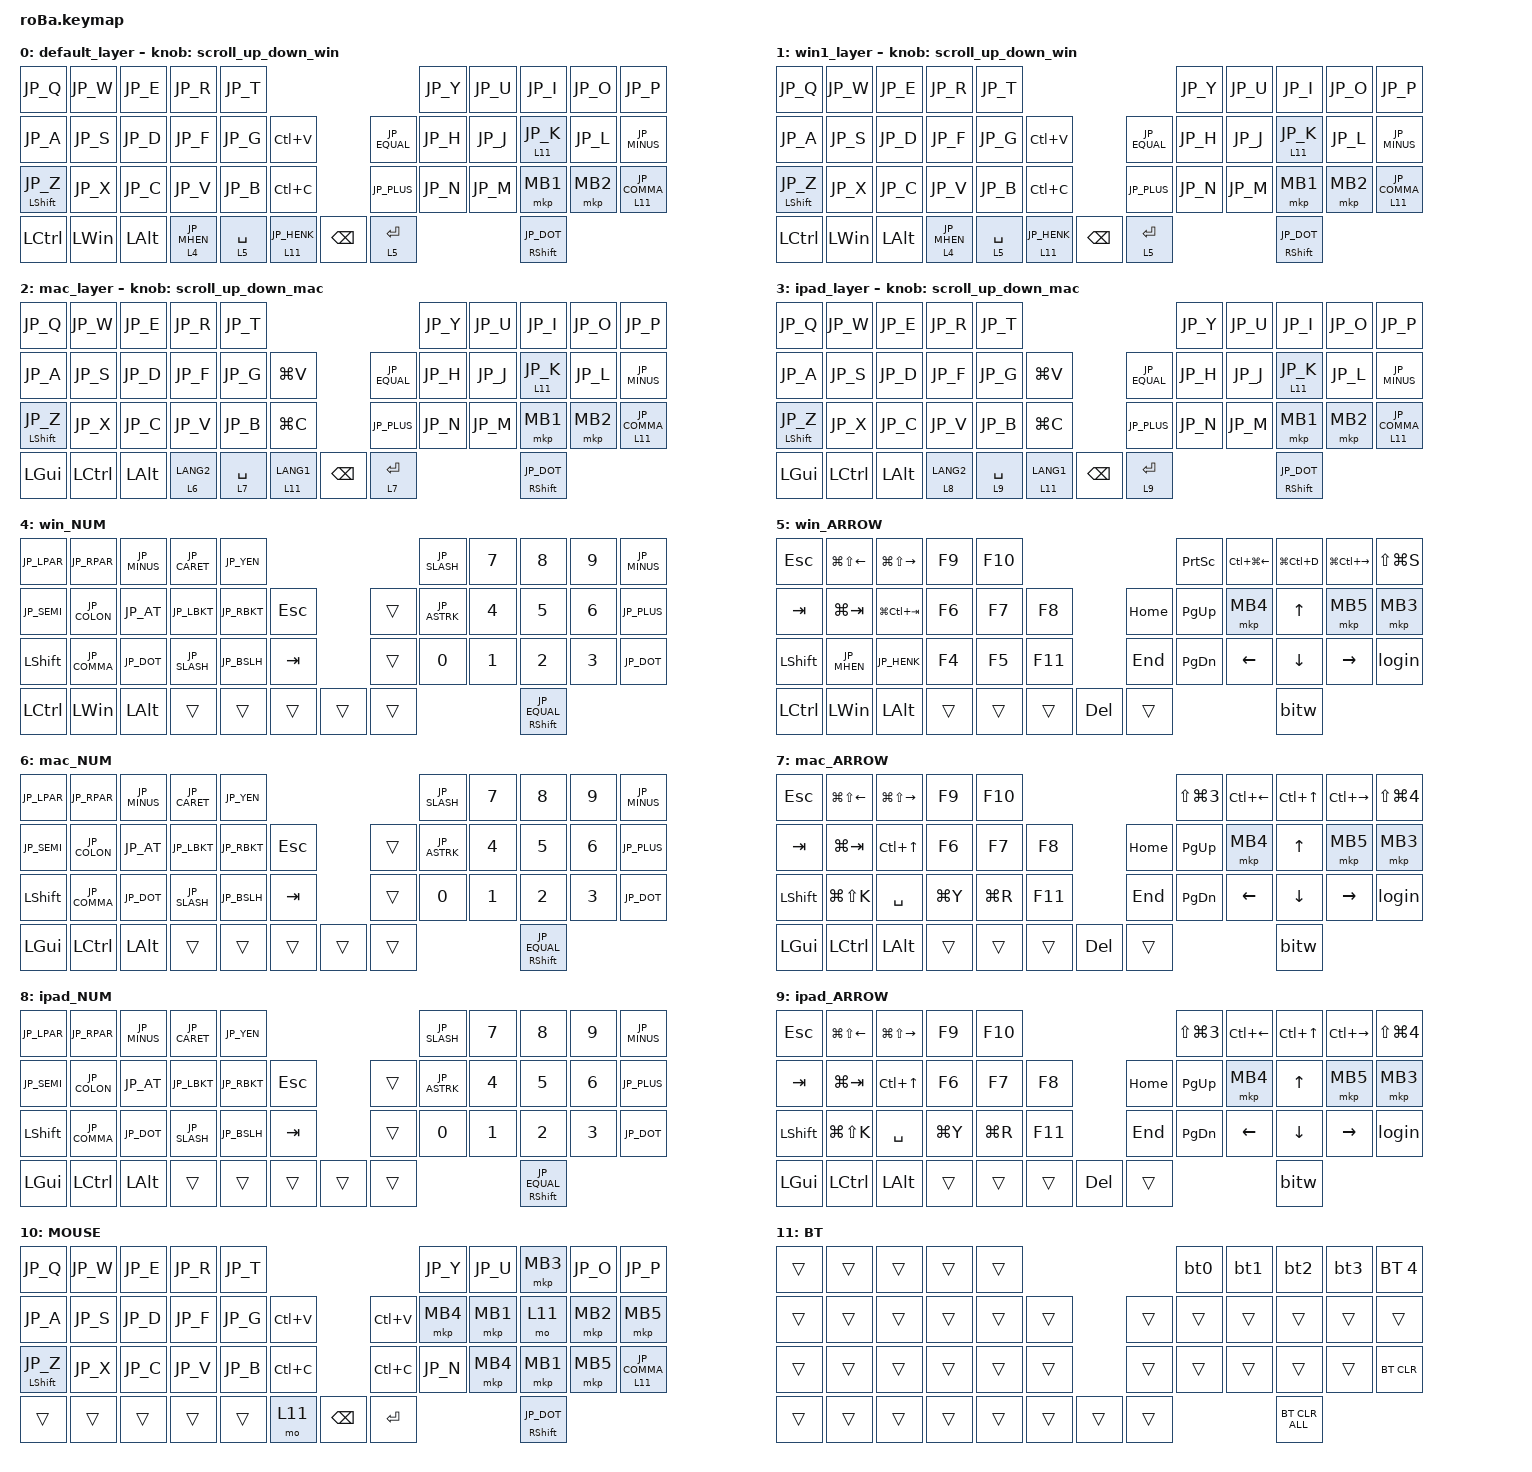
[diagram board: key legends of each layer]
#include "keymap.h"
#include <behaviors.dtsi>
#include <dt-bindings/zmk/bt.h>
#include <dt-bindings/zmk/keys.h>
#include <dt-bindings/zmk/pointing.h>
#include <dt-bindings/zmk/pointing.h>

#define MOUSE 11
#define NUM 6

&mt {
    flavor = "balanced";
    quick-tap-ms = <0>;
};

/ {
    macros {
        to_layer_0: to_layer_0 {
            compatible = "zmk,behavior-macro-one-param";
            #binding-cells = <1>;
            bindings = <&to 0 &macro_param_1to1 &kp MACRO_PLACEHOLDER>;
            label = "TO_LAYER_0";
        };
		
        login: login {
            compatible = "zmk,behavior-macro";
            #binding-cells = <0>;
            bindings = <&kp N3 &kp N9 &kp LS(H) &kp O &kp T &kp S &kp P &kp A &kp C &kp E>;
            label = "LOGIN";
        };

        bitw: bitw {
            compatible = "zmk,behavior-macro";
            #binding-cells = <0>;
            bindings = <&none &kp LS(I) &kp N &kp N &kp U &kp E &kp N &kp D &kp O &kp JP_AT &kp N3 &kp N6 &kp N6 &kp N4>;
            label = "BITW";
        };

        bt0: bt0 {
            compatible = "zmk,behavior-macro";
            #binding-cells = <0>;
            bindings =
                <&tog_off 1 &tog_off 2 &tog_off 3>,
                <&macro_wait_time 200>,
                <&bt BT_SEL 0>,
                <&macro_wait_time 500>;

            label = "BT0";
        };

        bt1: bt1 {
            compatible = "zmk,behavior-macro";
            #binding-cells = <0>;
            bindings =
                <&tog_off 1 &tog_off 2 &tog_off 3>,
                <&macro_wait_time 200>,
                <&bt BT_SEL 1>,
                <&macro_wait_time 500>,
                <&tog_on 1>;

            label = "BT1";
        };

        bt2: bt2 {
            compatible = "zmk,behavior-macro";
            #binding-cells = <0>;
            bindings =
                <&tog_off 1 &tog_off 2 &tog_off 3>,
                <&macro_wait_time 200>,
                <&bt BT_SEL 2>,
                <&macro_wait_time 500>,
                <&tog_on 2>;

            label = "BT2";
        };

        bt3: bt3 {
            compatible = "zmk,behavior-macro";
            #binding-cells = <0>;
            bindings =
                <&tog_off 1 &tog_off 2 &tog_off 3>,
                <&macro_wait_time 200>,
                <&bt BT_SEL 3>,
                <&macro_wait_time 500>,
                <&tog_on 3>;

            label = "BT3";
        };		
    };

    behaviors {
        lt_to_layer_0: lt_to_layer_0 {
            compatible = "zmk,behavior-hold-tap";
            label = "LAYER_TAP_TO_0";
            bindings = <&mo>, <&to_layer_0>;

            #binding-cells = <2>;
            tapping-term-ms = <200>;
        };

        tog_on: toggle_layer_on_only {
            compatible = "zmk,behavior-toggle-layer";
            #binding-cells = <1>;
            display-name = "Toggle Layer On";
            toggle-mode = "on";
        };

        tog_off: toggle_layer_off_only {
            compatible = "zmk,behavior-toggle-layer";
            #binding-cells = <1>;
            display-name = "Toggle Layer Off";
            toggle-mode = "off";
        };
		
		scroll_up_down_win: scroll_up_down_win {
            compatible = "zmk,behavior-sensor-rotate";
            #sensor-binding-cells = <0>;
            bindings = <&msc SCRL_UP>, <&msc SCRL_DOWN>; // Windows用 (通常の方向)
        };

        scroll_up_down_mac: scroll_up_down_mac {
            compatible = "zmk,behavior-sensor-rotate";
            #sensor-binding-cells = <0>;
            bindings = <&msc SCRL_DOWN>, <&msc SCRL_UP>; // Mac用 (逆方向)
        };
    };

    keymap {
        compatible = "zmk,keymap";

        default_layer {
            bindings = <
&kp JP_Q             &kp JP_W      &kp JP_E      &kp JP_R                  &kp JP_T                                                   &kp JP_Y     &kp JP_U  &kp JP_I  &kp JP_O  &kp JP_P
&kp JP_A             &kp JP_S      &kp JP_D      &kp JP_F                  &kp JP_G     &kp LC(V)                      &kp JP_EQUAL   &kp JP_H     &kp JP_J  &lt 11 JP_K  &kp JP_L  &kp JP_MINUS
&mt LEFT_SHIFT JP_Z  &kp JP_X      &kp JP_C      &kp JP_V                  &kp JP_B     &kp LC(C)                      &kp JP_PLUS    &kp JP_N     &kp JP_M  &mkp MB1  &mkp MB2  &lt 11 JP_COMMA
&kp LCTRL            &kp LEFT_WIN  &kp LEFT_ALT  &lt 4 JP_MHEN  &lt 5 SPACE  &lt 11 JP_HENK      &kp BACKSPACE  &lt 5 ENTER                                &mt RIGHT_SHIFT JP_DOT
            >;

            sensor-bindings = <&scroll_up_down_win>; // Windows用スクロール
        };

        win1_layer {
            bindings = <
&kp JP_Q             &kp JP_W      &kp JP_E      &kp JP_R       &kp JP_T                                      &kp JP_Y     &kp JP_U  &kp JP_I      &kp JP_O    &kp JP_P
&kp JP_A             &kp JP_S      &kp JP_D      &kp JP_F       &kp JP_G     &kp LC(V)         &kp JP_EQUAL   &kp JP_H     &kp JP_J  &lt 11 JP_K   &kp JP_L    &kp JP_MINUS
&mt LEFT_SHIFT JP_Z  &kp JP_X      &kp JP_C      &kp JP_V       &kp JP_B     &kp LC(C)         &kp JP_PLUS    &kp JP_N     &kp JP_M  &mkp MB1  &mkp MB2  &lt 11 JP_COMMA
&kp LCTRL            &kp LEFT_WIN  &kp LEFT_ALT  &lt 4 JP_MHEN  &lt 5 SPACE  &lt 11 JP_HENK    &kp BACKSPACE  &lt 5 ENTER                                      &mt RIGHT_SHIFT JP_DOT
            >;
			
            sensor-bindings = <&scroll_up_down_win>; // Windows用スクロール
        };

        mac_layer {
            bindings = <
&kp JP_Q             &kp JP_W   &kp JP_E  &kp JP_R               &kp JP_T                                                &kp JP_Y     &kp JP_U  &kp JP_I  &kp JP_O  &kp JP_P
&kp JP_A             &kp JP_S   &kp JP_D  &kp JP_F               &kp JP_G     &kp LG(V)                   &kp JP_EQUAL   &kp JP_H     &kp JP_J  &lt 11 JP_K  &kp JP_L  &kp JP_MINUS
&mt LEFT_SHIFT JP_Z  &kp JP_X   &kp JP_C  &kp JP_V               &kp JP_B     &kp LG(C)                   &kp JP_PLUS    &kp JP_N     &kp JP_M  &mkp MB1  &mkp MB2  &lt 11 JP_COMMA
&kp LGUI             &kp LCTRL  &kp LALT  &lt 6 LANG2  &lt 7 SPACE  &lt 11 LANG1      &kp BACKSPACE  &lt 7 ENTER                                &mt RIGHT_SHIFT JP_DOT
            >;
			
			sensor-bindings = <&scroll_up_down_mac>; // Mac用スクロール (逆方向)
        };

        ipad_layer {
            bindings = <
&kp JP_Q             &kp JP_W   &kp JP_E  &kp JP_R               &kp JP_T                                                &kp JP_Y     &kp JP_U  &kp JP_I  &kp JP_O  &kp JP_P
&kp JP_A             &kp JP_S   &kp JP_D  &kp JP_F               &kp JP_G     &kp LG(V)                   &kp JP_EQUAL   &kp JP_H     &kp JP_J  &lt 11 JP_K  &kp JP_L  &kp JP_MINUS
&mt LEFT_SHIFT JP_Z  &kp JP_X   &kp JP_C  &kp JP_V               &kp JP_B     &kp LG(C)                   &kp JP_PLUS    &kp JP_N     &kp JP_M  &mkp MB1  &mkp MB2  &lt 11 JP_COMMA
&kp LGUI             &kp LCTRL  &kp LALT  &lt 8 LANG2  &lt 9 SPACE  &lt 11 LANG1      &kp BACKSPACE  &lt 9 ENTER                                &mt RIGHT_SHIFT JP_DOT
            >;
			
			sensor-bindings = <&scroll_up_down_mac>; // Mac用スクロール (逆方向)
        };

        win_NUM {
            bindings = <
&kp JP_LPAR       &kp JP_RPAR   &kp JP_MINUS  &kp JP_CARET  &kp JP_YEN                           &kp JP_SLASH  &kp N7  &kp N8  &kp N9  &kp JP_MINUS
&kp JP_SEMI       &kp JP_COLON  &kp JP_AT     &kp JP_LBKT   &kp JP_RBKT  &kp ESCAPE      &trans  &kp JP_ASTRK  &kp N4  &kp N5  &kp N6  &kp JP_PLUS
&kp LEFT_SHIFT    &kp JP_COMMA  &kp JP_DOT    &kp JP_SLASH  &kp JP_BSLH  &kp TAB         &trans  &kp N0        &kp N1  &kp N2  &kp N3  &kp JP_DOT
&kp LEFT_CONTROL  &kp LEFT_WIN  &kp LEFT_ALT  &trans        &trans       &trans          &trans  &trans                                &mt RIGHT_SHIFT JP_EQUAL
            >;
        };

        win_ARROW {
            bindings = <
&kp ESCAPE      &kp LG(LS(LEFT_ARROW))  &kp LG(LS(RIGHT_ARROW))  &kp F9  &kp F10                           &kp PRINTSCREEN  &kp LC(LG(LEFT_ARROW))  &kp LG(LC(D))   &kp LG(LC(RIGHT_ARROW))  &kp LS(LG(S))
&kp TAB         &kp LG(TAB)             &kp LG(LC(TAB))          &kp F6  &kp F7   &kp F8       &kp HOME    &kp PAGE_UP      &mkp MB4                &kp UP_ARROW    &mkp MB5                 &mkp MB3
&kp LEFT_SHIFT  &kp JP_MHEN             &kp JP_HENK              &kp F4  &kp F5   &kp F11      &kp END     &kp PAGE_DOWN    &kp LEFT_ARROW          &kp DOWN_ARROW  &kp RIGHT_ARROW          &login
&kp LCTRL       &kp LEFT_WIN            &kp LEFT_ALT             &trans  &trans   &trans       &kp DELETE  &trans                                                                            &bitw
            >;
        };

        mac_NUM {
            bindings = <
&kp JP_LPAR     &kp JP_RPAR   &kp JP_MINUS  &kp JP_CARET  &kp JP_YEN                           &kp JP_SLASH  &kp N7  &kp N8  &kp N9  &kp JP_MINUS
&kp JP_SEMI     &kp JP_COLON  &kp JP_AT     &kp JP_LBKT   &kp JP_RBKT  &kp ESCAPE      &trans  &kp JP_ASTRK  &kp N4  &kp N5  &kp N6  &kp JP_PLUS
&kp LEFT_SHIFT  &kp JP_COMMA  &kp JP_DOT    &kp JP_SLASH  &kp JP_BSLH  &kp TAB         &trans  &kp N0        &kp N1  &kp N2  &kp N3  &kp JP_DOT
&kp LGUI        &kp LCTRL     &kp LALT      &trans        &trans       &trans          &trans  &trans                                &mt RIGHT_SHIFT JP_EQUAL
            >;
        };

        mac_ARROW {
            bindings = <
&kp ESCAPE      &kp LG(LS(LEFT_ARROW))  &kp LG(LS(RIGHT_ARROW))  &kp F9     &kp F10                             &kp LS(LG(3))  &kp LC(LEFT_ARROW)  &kp LC(UP_ARROW)  &kp LC(RIGHT_ARROW)  &kp LS(LG(4))
&kp TAB         &kp LG(TAB)             &kp LC(UP_ARROW)         &kp F6     &kp F7     &kp F8       &kp HOME    &kp PAGE_UP    &mkp MB4            &kp UP_ARROW      &mkp MB5             &mkp MB3
&kp LEFT_SHIFT  &kp LG(LS(K))           &kp SPACE                &kp LG(Y)  &kp LG(R)  &kp F11      &kp END     &kp PAGE_DOWN  &kp LEFT_ARROW      &kp DOWN_ARROW    &kp RIGHT_ARROW      &login
&kp LGUI        &kp LCTRL               &kp LALT                 &trans     &trans     &trans       &kp DELETE  &trans                                                                    &bitw
            >;
        };

        ipad_NUM {
            bindings = <
&kp JP_LPAR     &kp JP_RPAR   &kp JP_MINUS  &kp JP_CARET  &kp JP_YEN                           &kp JP_SLASH  &kp N7  &kp N8  &kp N9  &kp JP_MINUS
&kp JP_SEMI     &kp JP_COLON  &kp JP_AT     &kp JP_LBKT   &kp JP_RBKT  &kp ESCAPE      &trans  &kp JP_ASTRK  &kp N4  &kp N5  &kp N6  &kp JP_PLUS
&kp LEFT_SHIFT  &kp JP_COMMA  &kp JP_DOT    &kp JP_SLASH  &kp JP_BSLH  &kp TAB         &trans  &kp N0        &kp N1  &kp N2  &kp N3  &kp JP_DOT
&kp LGUI        &kp LCTRL     &kp LALT      &trans        &trans       &trans          &trans  &trans                                &mt RIGHT_SHIFT JP_EQUAL
            >;
        };

        ipad_ARROW {
            bindings = <
&kp ESCAPE      &kp LG(LS(LEFT_ARROW))  &kp LG(LS(RIGHT_ARROW))  &kp F9     &kp F10                             &kp LS(LG(3))  &kp LC(LEFT_ARROW)  &kp LC(UP_ARROW)  &kp LC(RIGHT_ARROW)  &kp LS(LG(4))
&kp TAB         &kp LG(TAB)             &kp LC(UP_ARROW)         &kp F6     &kp F7     &kp F8       &kp HOME    &kp PAGE_UP    &mkp MB4            &kp UP_ARROW      &mkp MB5             &mkp MB3
&kp LEFT_SHIFT  &kp LG(LS(K))           &kp SPACE                &kp LG(Y)  &kp LG(R)  &kp F11      &kp END     &kp PAGE_DOWN  &kp LEFT_ARROW      &kp DOWN_ARROW    &kp RIGHT_ARROW      &login
&kp LGUI        &kp LCTRL               &kp LALT                 &trans     &trans     &trans       &kp DELETE  &trans                                                                    &bitw
            >;
        };
		
		MOUSE {
            bindings = <
&kp JP_Q             &kp JP_W  &kp JP_E  &kp JP_R  &kp JP_T                              &kp JP_Y   &kp JP_U  &mkp MB3  &kp JP_O  &kp JP_P
&kp JP_A             &kp JP_S  &kp JP_D  &kp JP_F  &kp JP_G  &kp LC(V)    &kp LC(V)      &mkp MB4   &mkp MB1  &mo 11    &mkp MB2  &mkp MB5
&mt LEFT_SHIFT JP_Z  &kp JP_X  &kp JP_C  &kp JP_V  &kp JP_B  &kp LC(C)    &kp LC(C)      &kp JP_N   &mkp MB4  &mkp MB1  &mkp MB5  &lt 11 JP_COMMA
&trans               &trans    &trans    &trans    &trans    &mo 11       &kp BACKSPACE  &kp ENTER                                &mt RIGHT_SHIFT JP_DOT
            >;
        };
		
        BT {
            bindings = <
&trans  &trans  &trans  &trans  &trans                     &bt0    &bt1    &bt2    &bt3    &bt BT_SEL 4
&trans  &trans  &trans  &trans  &trans   &trans    &trans  &trans  &trans  &trans  &trans  &trans
&trans  &trans  &trans  &trans  &trans   &trans    &trans  &trans  &trans  &trans  &trans  &bt BT_CLR
&trans  &trans  &trans  &trans  &trans   &trans    &trans  &trans                          &bt BT_CLR_ALL
            >;
        };
    };
};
